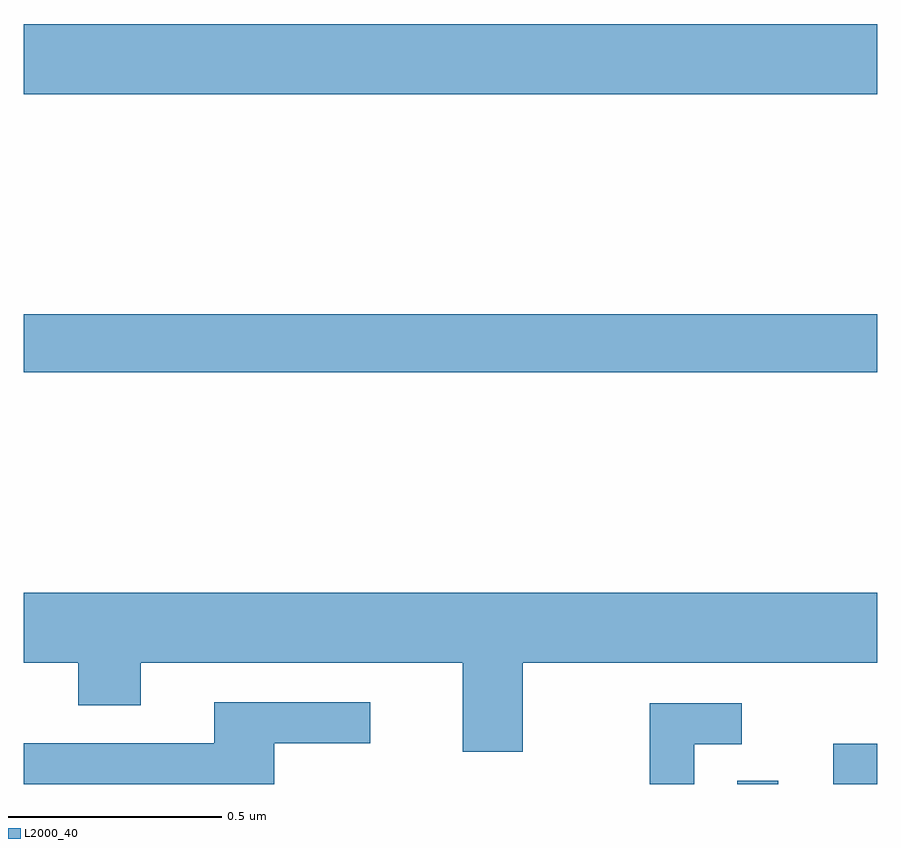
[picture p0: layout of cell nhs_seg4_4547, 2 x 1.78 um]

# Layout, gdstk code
import gdstk
lib = gdstk.Library(unit=1e-6, precision=1e-09)
def R(c, l, rs):  # rectangles x0, y0, x1, y1
    for r in rs: c.add(gdstk.rectangle(r[:2], r[2:], *l))
def P(c, l, *ps):  # polygons
    for p in ps: c.add(gdstk.Polygon(p, *l))
L2000_40 = (2000, 40)

nhs_seg4_4547 = lib.new_cell('nhs_seg4_4547')
R(nhs_seg4_4547, L2000_40, [(168.672,765.9,168.768,765.908), (168.896,765.9,169,765.994), (167,766.864,169,767), (167,767.516,169,767.68)])
P(nhs_seg4_4547, L2000_40, [(168.169,766.184),(169,766.184),(169,766.348),(167,766.348),(167,766.184),(167.128,766.184),(167.128,766.085),(167.275,766.085),(167.275,766.184),(168.029,766.184),(168.029,765.976),(168.169,765.976)],
  [(167.587,765.996),(167.812,765.996),(167.812,766.092),(167.447,766.092),(167.447,765.996),(167,765.996),(167,765.9),(167.587,765.9)],
  [(168.571,765.993),(168.682,765.993),(168.682,766.089),(168.467,766.089),(168.467,765.9),(168.571,765.9)])

lib.write_gds('nhs_seg4_4547.gds')
